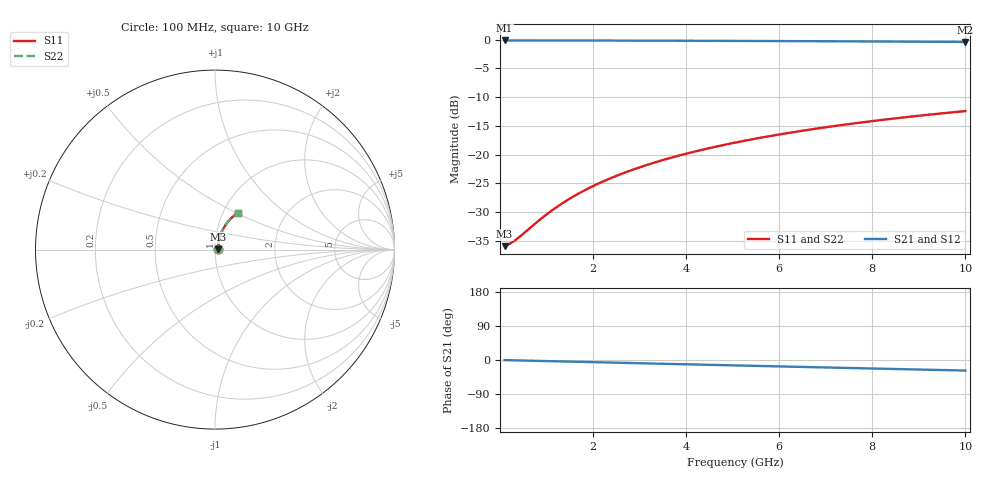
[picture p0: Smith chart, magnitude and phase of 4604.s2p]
# Hz S RI R 50.00
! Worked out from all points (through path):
!   100 points, 100 MHz to 10 GHz, reference 50 ohm
!   highest |S21| = -0.14 dB at 100 MHz (marker M1); lowest = -0.4 dB at 10 GHz (marker M2)
!   group delay of S21, straight-line fit = 7.75 ps
!   lowest |S11| = -36.0 dB at 100 MHz (marker M3), VSWR 1.03, Z = 51.6 + j0.253 ohm
!   |S11| at or under -10 dB: start of sweep to end of sweep
!   |S22| runs from -36.0 to -12.4 dB; largest |S21 - S12| = 0
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1e8  0.0157 0.00245  0.9843 -0.00488  0.9843 -0.00488  0.0157 0.00245
2e8  0.0159 0.00491  0.9841 -0.00976  0.9841 -0.00976  0.0159 0.00491
3e8  0.016 0.00736  0.984 -0.0146  0.984 -0.0146  0.016 0.00736
4e8  0.0161 0.00981  0.9838 -0.0195  0.9838 -0.0195  0.0161 0.00981
9e8  0.0171 0.022  0.9826 -0.0439  0.9826 -0.0439  0.0171 0.022
1.2e9  0.018 0.0293  0.9815 -0.0585  0.9815 -0.0585  0.018 0.0293
1.5e9  0.0191 0.0366  0.9802 -0.073  0.9802 -0.073  0.0191 0.0366
1.8e9  0.0203 0.0438  0.9787 -0.0875  0.9787 -0.0875  0.0203 0.0438
2.1e9  0.0218 0.051  0.9768 -0.102  0.9768 -0.102  0.0218 0.051
2.5e9  0.0241 0.0605  0.974 -0.1212  0.974 -0.1212  0.0241 0.0605
2.9e9  0.0267 0.0699  0.9707 -0.1403  0.9707 -0.1403  0.0267 0.0699
3.4e9  0.0306 0.0815  0.9659 -0.164  0.9659 -0.164  0.0306 0.0815
3.8e9  0.034 0.0905  0.9616 -0.1828  0.9616 -0.1828  0.034 0.0905
4.2e9  0.0378 0.0995  0.9568 -0.2014  0.9568 -0.2014  0.0378 0.0995
4.6e9  0.042 0.1082  0.9516 -0.2199  0.9516 -0.2199  0.042 0.1082
5.1e9  0.0476 0.1189  0.9445 -0.2427  0.9445 -0.2427  0.0476 0.1189
5.9e9  0.0577 0.1353  0.9318 -0.2785  0.9318 -0.2785  0.0577 0.1353
6.7e9  0.0689 0.1507  0.9175 -0.3135  0.9175 -0.3135  0.0689 0.1507
7.5e9  0.0812 0.1652  0.9018 -0.3474  0.9018 -0.3474  0.0812 0.1652
8.4e9  0.0963 0.1802  0.8824 -0.3843  0.8824 -0.3843  0.0963 0.1802
9.2e9  0.1106 0.1923  0.8637 -0.4158  0.8637 -0.4158  0.1106 0.1923
1e10  0.1256 0.2032  0.844 -0.4462  0.844 -0.4462  0.1256 0.2032
